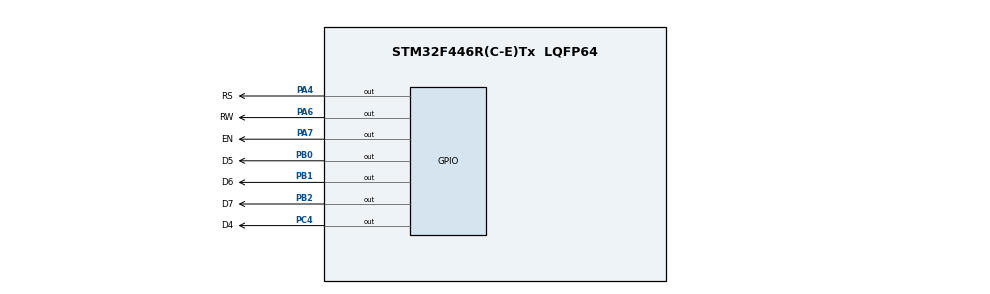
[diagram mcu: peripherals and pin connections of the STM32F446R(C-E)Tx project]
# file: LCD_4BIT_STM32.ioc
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Mcu.Family=STM32F4
Mcu.Name=STM32F446R(C-E)Tx
Mcu.Package=LQFP64
NVIC.PriorityGroup=NVIC_PRIORITYGROUP_4
PA4.GPIO_Label=RS
PA4.Signal=GPIO_Output
PA6.GPIO_Label=RW
PA6.Signal=GPIO_Output
PA7.GPIO_Label=EN
PA7.Signal=GPIO_Output
PB0.GPIO_Label=D5
PB0.Signal=GPIO_Output
PB1.GPIO_Label=D6
PB1.Signal=GPIO_Output
PB2.GPIO_Label=D7
PB2.Signal=GPIO_Output
PC4.GPIO_Label=D4
PC4.Signal=GPIO_Output
ProjectManager.HeapSize=0x200
ProjectManager.StackSize=0x400
ProjectManager.TargetToolchain=SW4STM32
RCC.CortexFreq_Value=16000000
RCC.USBFreq_Value=96000000
RCC.VCOOutputFreq_Value=192000000
board=custom

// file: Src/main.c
/* USER CODE BEGIN Header */
/**
  ******************************************************************************
  * @file           : main.c
  * @brief          : Main program body
  ******************************************************************************
  * @attention
  *
  * <h2><center>&copy; Copyright (c) 2021 STMicroelectronics.
  * All rights reserved.</center></h2>
  *
  * This software component is licensed by ST under BSD 3-Clause license,
  * the "License"; You may not use this file except in compliance with the
  * License. You may obtain a copy of the License at:
  *                        opensource.org/licenses/BSD-3-Clause
  *
  ******************************************************************************
  */
/* USER CODE END Header */

#include "main.h"

void SystemClock_Config(void);
static void MX_GPIO_Init(void);

int main(void)
{

  /* MCU Configuration--------------------------------------------------------*/

  /* Reset of all peripherals, Initializes the Flash interface and the Systick. */
  HAL_Init();

  /* Configure the system clock */
  SystemClock_Config();

  /* Initialize all configured peripherals */
  MX_GPIO_Init();
  /* USER CODE BEGIN 2 */
  HAL_Delay(1000);      //this delay is added so as to wait for some time for power and voltage to be stable
  lcd_init ();
  lcd_String_xy (0,0,"WELCOME TO");
  lcd_String_xy (1,0,"NETEL INDIA DSM");
  HAL_Delay(3000);
  /* USER CODE END 2 */

  /* Infinite loop */
  while (1)
  {

  }
}

void SystemClock_Config(void)
{
  RCC_OscInitTypeDef RCC_OscInitStruct = {0};
  RCC_ClkInitTypeDef RCC_ClkInitStruct = {0};

  /** Configure the main internal regulator output voltage
  */
  __HAL_RCC_PWR_CLK_ENABLE();
  __HAL_PWR_VOLTAGESCALING_CONFIG(PWR_REGULATOR_VOLTAGE_SCALE3);
  /** Initializes the CPU, AHB and APB busses clocks
  */
  RCC_OscInitStruct.OscillatorType = RCC_OSCILLATORTYPE_HSI;
  RCC_OscInitStruct.HSIState = RCC_HSI_ON;
  RCC_OscInitStruct.HSICalibrationValue = RCC_HSICALIBRATION_DEFAULT;
  RCC_OscInitStruct.PLL.PLLState = RCC_PLL_NONE;
  if (HAL_RCC_OscConfig(&RCC_OscInitStruct) != HAL_OK)
  {
    Error_Handler();
  }
  /** Initializes the CPU, AHB and APB busses clocks
  */
  RCC_ClkInitStruct.ClockType = RCC_CLOCKTYPE_HCLK|RCC_CLOCKTYPE_SYSCLK
                              |RCC_CLOCKTYPE_PCLK1|RCC_CLOCKTYPE_PCLK2;
  RCC_ClkInitStruct.SYSCLKSource = RCC_SYSCLKSOURCE_HSI;
  RCC_ClkInitStruct.AHBCLKDivider = RCC_SYSCLK_DIV1;
  RCC_ClkInitStruct.APB1CLKDivider = RCC_HCLK_DIV1;
  RCC_ClkInitStruct.APB2CLKDivider = RCC_HCLK_DIV1;

  if (HAL_RCC_ClockConfig(&RCC_ClkInitStruct, FLASH_LATENCY_0) != HAL_OK)
  {
    Error_Handler();
  }
}

static void MX_GPIO_Init(void)
{
  GPIO_InitTypeDef GPIO_InitStruct = {0};

  /* GPIO Ports Clock Enable */
  __HAL_RCC_GPIOA_CLK_ENABLE();
  __HAL_RCC_GPIOC_CLK_ENABLE();
  __HAL_RCC_GPIOB_CLK_ENABLE();

  /*Configure GPIO pin Output Level */
  HAL_GPIO_WritePin(GPIOA, RS_Pin|RW_Pin|EN_Pin, GPIO_PIN_RESET);

  /*Configure GPIO pin Output Level */
  HAL_GPIO_WritePin(D4_GPIO_Port, D4_Pin, GPIO_PIN_RESET);

  /*Configure GPIO pin Output Level */
  HAL_GPIO_WritePin(GPIOB, D5_Pin|D6_Pin|D7_Pin, GPIO_PIN_RESET);

  /*Configure GPIO pins : RS_Pin RW_Pin EN_Pin */
  GPIO_InitStruct.Pin = RS_Pin|RW_Pin|EN_Pin;
  GPIO_InitStruct.Mode = GPIO_MODE_OUTPUT_PP;
  GPIO_InitStruct.Pull = GPIO_NOPULL;
  GPIO_InitStruct.Speed = GPIO_SPEED_FREQ_LOW;
  HAL_GPIO_Init(GPIOA, &GPIO_InitStruct);

  /*Configure GPIO pin : D4_Pin */
  GPIO_InitStruct.Pin = D4_Pin;
  GPIO_InitStruct.Mode = GPIO_MODE_OUTPUT_PP;
  GPIO_InitStruct.Pull = GPIO_NOPULL;
  GPIO_InitStruct.Speed = GPIO_SPEED_FREQ_LOW;
  HAL_GPIO_Init(D4_GPIO_Port, &GPIO_InitStruct);

  /*Configure GPIO pins : D5_Pin D6_Pin D7_Pin */
  GPIO_InitStruct.Pin = D5_Pin|D6_Pin|D7_Pin;
  GPIO_InitStruct.Mode = GPIO_MODE_OUTPUT_PP;
  GPIO_InitStruct.Pull = GPIO_NOPULL;
  GPIO_InitStruct.Speed = GPIO_SPEED_FREQ_LOW;
  HAL_GPIO_Init(GPIOB, &GPIO_InitStruct);

}

/* USER CODE BEGIN 4 */

void send_to_lcd (char data, int rs)
{
    HAL_GPIO_WritePin(RS_GPIO_Port, RS_Pin, rs);  // rs = 1 for data, rs=0 for command
    /* write the data to the respective pin */
    HAL_GPIO_WritePin(D7_GPIO_Port, D7_Pin, (data & 0x08));
    HAL_GPIO_WritePin(D6_GPIO_Port, D6_Pin, (data & 0x04));
    HAL_GPIO_WritePin(D5_GPIO_Port, D5_Pin, (data & 0x02));
    HAL_GPIO_WritePin(D4_GPIO_Port, D4_Pin, (data & 0x01));
    /* Toggle EN PIN to send the data*/

    HAL_GPIO_WritePin(EN_GPIO_Port, EN_Pin, 1);
    HAL_Delay(1);
    HAL_GPIO_WritePin(EN_GPIO_Port, EN_Pin, 0);
    HAL_Delay(1);
}

void lcd_send_cmd (char cmd)
{
    char commandtosend;

    /* send upper nibble first */
    commandtosend = (cmd>>4);
    send_to_lcd(commandtosend,0);  // RS must be 0 while sending command

    /* send Lower Nibble */
    commandtosend = ((cmd)&0x0f);
	send_to_lcd(commandtosend, 0);
}

void lcd_send_data (char data)
{
	char datatosend;

	// send higher nibble
	datatosend = (data>>4);
	send_to_lcd(datatosend, 1);  // rs =1 for sending data

	// send Lower nibble
	datatosend = ((data)&0x0f);
	send_to_lcd(datatosend, 1);
}

void lcd_clear (void)
{
	lcd_send_cmd(0x01);
	HAL_Delay(2);
	lcd_send_cmd(0x80);		// cursor at home position
	HAL_Delay(2);
}

void lcd_init (void)
{
	// 4 bit initialisation
	lcd_send_cmd (0x33);
	HAL_Delay(5);
	lcd_send_cmd (0x32);
	HAL_Delay(5);
	lcd_send_cmd (0x28);
	HAL_Delay(5);

  // dislay initialisation
	lcd_send_cmd (0x0C);  // Display on/off control --> D = 1, C and B = 0. (Cursor and blink, last two bits)
	HAL_Delay(5);
	lcd_send_cmd (0x06); //Entry mode set --> I/D = 1 (increment cursor) & S = 0 (no shift)
	HAL_Delay(5);
	lcd_send_cmd (0x01); //clear display
}

void lcd_send_string (char *str)
{
	int i;
	for(i=0;str[i]!=0;i++)		// Send each char of string till the NULL
	{
		lcd_send_data (str[i]);
	}
}

void lcd_String_xy (char row, char pos, char *str)// Send string to LCD with xy position
{
	if (row == 0 && pos<16)
	lcd_send_cmd((pos & 0x0F)|0x80);	// Command of first row and required position<16
	else if (row == 1 && pos<16)
	lcd_send_cmd((pos & 0x0F)|0xC0);	// Command of first row and required position<16
	lcd_send_string(str);		// Call LCD string function *
}

/* USER CODE END 4 */

void Error_Handler(void)
{
}

/************************ (C) COPYRIGHT STMicroelectronics *****END OF FILE****/
